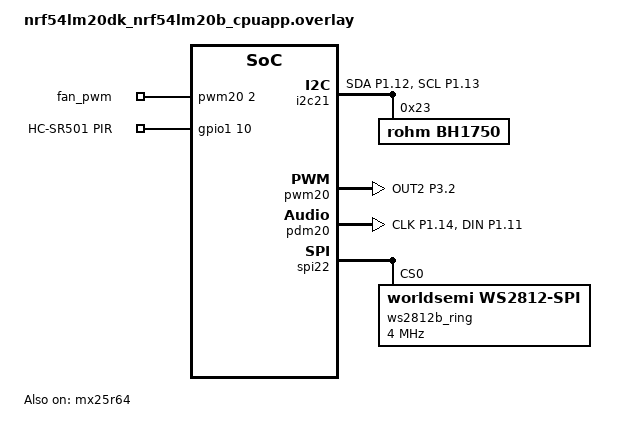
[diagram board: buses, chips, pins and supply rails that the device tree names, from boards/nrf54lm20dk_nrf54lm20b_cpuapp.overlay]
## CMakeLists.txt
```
cmake_minimum_required(VERSION 3.20.0)
set(CMAKE_EXPORT_COMPILE_COMMANDS ON)
find_package(Zephyr REQUIRED HINTS /opt/nordic/ncs/v3.4.0/zephyr)

project(SensoryShield)
option(DEMO_DEFAULTS "Use rehearsal timing, targets and optional measured baseline" ON)
target_compile_definitions(app PRIVATE DEMO_DEFAULTS=$<BOOL:${DEMO_DEFAULTS}>)

include(${ZEPHYR_CONNECTEDHOMEIP_MODULE_DIR}/config/nrfconnect/app/enable-gnu-std.cmake)
include(${ZEPHYR_NRF_MODULE_DIR}/samples/matter/common/cmake/source_common.cmake)
include(${ZEPHYR_NRF_MODULE_DIR}/samples/matter/common/cmake/data_model.cmake)
include(${ZEPHYR_NRF_MODULE_DIR}/samples/matter/common/cmake/zap_helpers.cmake)
ncs_get_zap_parent_dir(ZAP_PARENT_DIR)

find_program(NPM_EXECUTABLE npm REQUIRED HINTS /opt/homebrew/bin)
set(FRONTEND_DIR ${CMAKE_CURRENT_SOURCE_DIR}/frontend)
file(GLOB_RECURSE FRONTEND_BUILD_INPUTS CONFIGURE_DEPENDS
    ${FRONTEND_DIR}/src/*
    ${FRONTEND_DIR}/public/*
    ${FRONTEND_DIR}/index.html
    ${FRONTEND_DIR}/vite.config.ts
    ${FRONTEND_DIR}/package.json
    ${FRONTEND_DIR}/package-lock.json
)
set_property(DIRECTORY APPEND PROPERTY CMAKE_CONFIGURE_DEPENDS ${FRONTEND_BUILD_INPUTS})
if(NOT EXISTS ${FRONTEND_DIR}/node_modules/.bin/vite)
    execute_process(
        COMMAND ${NPM_EXECUTABLE} ci
        WORKING_DIRECTORY ${FRONTEND_DIR}
        RESULT_VARIABLE NPM_INSTALL_RESULT
    )
    if(NOT NPM_INSTALL_RESULT EQUAL 0)
        message(FATAL_ERROR "Frontend dependencies could not be installed with npm ci")
    endif()
endif()
execute_process(
    COMMAND ${NPM_EXECUTABLE} run build
    WORKING_DIRECTORY ${FRONTEND_DIR}
    RESULT_VARIABLE FRONTEND_BUILD_RESULT
)
if(NOT FRONTEND_BUILD_RESULT EQUAL 0)
    message(FATAL_ERROR "Frontend build failed; refusing to produce firmware without the web UI")
endif()

set(FRONTEND_ASSET_DIR ${FRONTEND_DIR}/dist)
set(GENERATED_ASSET_DIR ${APPLICATION_BINARY_DIR}/include/generated/sensoryshield)
file(MAKE_DIRECTORY ${GENERATED_ASSET_DIR})
generate_inc_file_for_target(app ${FRONTEND_ASSET_DIR}/index.html ${GENERATED_ASSET_DIR}/index_html.inc -g)
generate_inc_file_for_target(app ${FRONTEND_ASSET_DIR}/assets/app.js ${GENERATED_ASSET_DIR}/app_js.inc -g)
generate_inc_file_for_target(app ${FRONTEND_ASSET_DIR}/assets/index.css ${GENERATED_ASSET_DIR}/index_css.inc -g)
generate_inc_file_for_target(app ${FRONTEND_ASSET_DIR}/favicon.png ${GENERATED_ASSET_DIR}/favicon_png.inc)
generate_inc_file_for_target(app ${FRONTEND_ASSET_DIR}/brand/sensoryshield-logo.png ${GENERATED_ASSET_DIR}/sensoryshield_logo_png.inc)
generate_inc_file_for_target(app ${FRONTEND_ASSET_DIR}/brand/sensoryshield-mark.png ${GENERATED_ASSET_DIR}/sensoryshield_mark_png.inc)
generate_inc_file_for_target(app ${FRONTEND_ASSET_DIR}/illustrations/adult-avatar.png ${GENERATED_ASSET_DIR}/adult_avatar_png.inc)
generate_inc_file_for_target(app ${FRONTEND_ASSET_DIR}/illustrations/child-at-home.png ${GENERATED_ASSET_DIR}/child_at_home_png.inc)
generate_inc_file_for_target(app ${FRONTEND_ASSET_DIR}/illustrations/child-avatar.png ${GENERATED_ASSET_DIR}/child_avatar_png.inc)
generate_inc_file_for_target(app ${FRONTEND_ASSET_DIR}/illustrations/comfortable-home.png ${GENERATED_ASSET_DIR}/comfortable_home_png.inc)
generate_inc_file_for_target(app ${FRONTEND_ASSET_DIR}/illustrations/environment-status.png ${GENERATED_ASSET_DIR}/environment_status_png.inc)
generate_inc_file_for_target(app ${FRONTEND_ASSET_DIR}/illustrations/fan-control.png ${GENERATED_ASSET_DIR}/fan_control_png.inc)
generate_inc_file_for_target(app ${FRONTEND_ASSET_DIR}/illustrations/light-control.png ${GENERATED_ASSET_DIR}/light_control_png.inc)
generate_inc_file_for_target(app ${FRONTEND_ASSET_DIR}/illustrations/mode-control.png ${GENERATED_ASSET_DIR}/mode_control_png.inc)
generate_inc_file_for_target(app ${FRONTEND_ASSET_DIR}/illustrations/quiet-sound.png ${GENERATED_ASSET_DIR}/quiet_sound_png.inc)
generate_inc_file_for_target(app ${FRONTEND_ASSET_DIR}/illustrations/sensory-status.png ${GENERATED_ASSET_DIR}/sensory_status_png.inc)
generate_inc_file_for_target(app ${FRONTEND_ASSET_DIR}/illustrations/soft-light.png ${GENERATED_ASSET_DIR}/soft_light_png.inc)
generate_inc_file_for_target(app ${FRONTEND_ASSET_DIR}/illustrations/feedback-too-bright.png ${GENERATED_ASSET_DIR}/feedback_too_bright_png.inc)
generate_inc_file_for_target(app ${FRONTEND_ASSET_DIR}/illustrations/feedback-too-dark.png ${GENERATED_ASSET_DIR}/feedback_too_dark_png.inc)
generate_inc_file_for_target(app ${FRONTEND_ASSET_DIR}/illustrations/feedback-too-loud.png ${GENERATED_ASSET_DIR}/feedback_too_loud_png.inc)
generate_inc_file_for_target(app ${FRONTEND_ASSET_DIR}/illustrations/feedback-too-quiet.png ${GENERATED_ASSET_DIR}/feedback_too_quiet_png.inc)
target_include_directories(app PRIVATE ${GENERATED_ASSET_DIR})

target_include_directories(app PRIVATE src)
target_include_directories(app PRIVATE ${ZAP_PARENT_DIR})
target_compile_options(app PRIVATE $<$<COMPILE_LANGUAGE:CXX>:-fno-threadsafe-statics>)

target_sources(app PRIVATE
    src/main.cpp
    src/system/system.cpp
    src/system/memory.cpp
    src/system/matter_bridge.cpp
    src/system/threadrest.cpp
    src/system/web_assets.cpp
    src/common/algorithm/algorithm.cpp
    src/common/algorithm/baseline.cpp
    src/common/algorithm/sensory_relief.cpp
    src/common/algorithm/stimulus_score.cpp
    src/common/device/device.cpp
    src/common/device/Light.cpp
    src/common/device/Fan.cpp
    src/common/device/Occupancy.cpp
    src/common/device/Illuminance.cpp
    src/peripheral/BH1750.cpp
    src/peripheral/PIR.cpp
    src/peripheral/Mic.cpp
    src/peripheral/WS2812B.cpp
    src/peripheral/Fan.cpp
    ${CHIP_ROOT}/src/app/persistence/DeferredAttributePersistenceProvider.cpp
)

ncs_configure_data_model()

zephyr_linker_sources(SECTIONS sections-rom.ld)
zephyr_linker_section_ifdef(CONFIG_HTTP_SERVER NAME
    http_resource_desc_sensoryshield_thread_rest
    KVMA RAM_REGION GROUP RODATA_REGION
)
```

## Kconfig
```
source "Kconfig.zephyr"

source "$(ZEPHYR_CONNECTEDHOMEIP_MODULE_DIR)/config/nrfconnect/chip-module/Kconfig.features"
source "$(ZEPHYR_CONNECTEDHOMEIP_MODULE_DIR)/config/nrfconnect/chip-module/Kconfig.defaults"
source "$(ZEPHYR_NRF_MODULE_DIR)/samples/matter/common/src/Kconfig"

if OPENTHREAD

choice OPENTHREAD_NORDIC_LIBRARY_CONFIGURATION

	default OPENTHREAD_NORDIC_LIBRARY_FTD

endchoice

choice OPENTHREAD_DEVICE_TYPE

	default OPENTHREAD_FTD

endchoice

config CHIP_USE_OPENTHREAD_ENDPOINT
	default y

endif
```

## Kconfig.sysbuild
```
config NRF_DEFAULT_IPC_RADIO
	default y

config NETCORE_IPC_RADIO_IEEE802154
	default y if SOC_SERIES_NRF53 && !WIFI_NRF70

config NETCORE_IPC_RADIO_BT_HCI_IPC
	default y if SOC_SERIES_NRF53

choice BOOTLOADER
	default BOOTLOADER_MCUBOOT
endchoice

if BOOTLOADER_MCUBOOT

config DFU_MULTI_IMAGE_PACKAGE_BUILD
	default y

config DFU_MULTI_IMAGE_PACKAGE_APP
	default y

if SOC_SERIES_NRF53

choice MCUBOOT_MODE
	default MCUBOOT_MODE_OVERWRITE_ONLY
endchoice

choice BOOT_SIGNATURE_TYPE
	default BOOT_SIGNATURE_TYPE_RSA
endchoice

config SECURE_BOOT_NETCORE
	default y

config NETCORE_APP_UPDATE
	default y

config DFU_MULTI_IMAGE_PACKAGE_NET
	default y

endif # SOC_SERIES_NRF53

endif # BOOTLOADER_MCUBOOT

config MATTER_FACTORY_DATA_GENERATE
	default y

source "share/sysbuild/Kconfig"
```

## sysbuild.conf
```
SB_CONFIG_MATTER=y
SB_CONFIG_PARTITION_MANAGER=n
```

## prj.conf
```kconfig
CONFIG_CPP=y
CONFIG_STD_CPP17=y
CONFIG_LOG=y
CONFIG_LOG_DEFAULT_LEVEL=3

CONFIG_CHIP=y
CONFIG_CHIP_PROJECT_CONFIG="src/chip_project_config.h"
CONFIG_CHIP_DEVICE_PRODUCT_NAME="SensoryShield"
CONFIG_CHIP_DEVICE_VENDOR_ID=65521
CONFIG_CHIP_DEVICE_PRODUCT_ID=32774
CONFIG_NCS_SAMPLE_MATTER_ZAP_FILE_PATH="${APPLICATION_CONFIG_DIR}/src/default_zap/sensoryshield.zap"
CONFIG_CHIP_ENABLE_PAIRING_AUTOSTART=y
CONFIG_CHIP_BLE_EXT_ADVERTISING=y
CONFIG_CHIP_BLE_ADVERTISING_DURATION=60
CONFIG_BT_DEVICE_NAME="SensoryShield"
CONFIG_THREAD_NAME=y
CONFIG_MPU_STACK_GUARD=y
CONFIG_RESET_ON_FATAL_ERROR=n
CONFIG_CHIP_FACTORY_DATA=y
CONFIG_CHIP_FACTORY_DATA_BUILD=y
CONFIG_CHIP_MALLOC_SYS_HEAP_SIZE=65536
CONFIG_HEAP_MEM_POOL_SIZE=32768
CONFIG_NCS_SAMPLE_MATTER_APP_TASK_QUEUE_SIZE=32

CONFIG_OPENTHREAD_LIBRARY=y
CONFIG_OPENTHREAD_NORDIC_LIBRARY_FTD=y
CONFIG_OPENTHREAD_DEFAULT_TX_POWER=8
CONFIG_NETWORKING=y
CONFIG_NET_IPV6=y
CONFIG_NET_TCP=y
CONFIG_NET_SOCKETS=y
CONFIG_NET_CONTEXT_RECV_PKTINFO=y
CONFIG_NET_PKT_RX_COUNT=24
CONFIG_NET_PKT_TX_COUNT=24
CONFIG_NET_BUF_RX_COUNT=64
CONFIG_NET_BUF_TX_COUNT=64
CONFIG_JSON_LIBRARY=y
CONFIG_HTTP_SERVER=y
CONFIG_HTTP_SERVER_STACK_SIZE=12288
CONFIG_HTTP_SERVER_MAX_CLIENTS=8
CONFIG_HTTP_SERVER_CLIENT_BUFFER_SIZE=2048
CONFIG_HTTP_SERVER_MAX_HEADER_LEN=512
CONFIG_ZVFS_POLL_MAX=16
CONFIG_NET_MAX_CONN=24
CONFIG_NET_MAX_CONTEXTS=28
CONFIG_OPENTHREAD_THREAD_STACK_SIZE=8192
CONFIG_MBEDTLS_HEAP_SIZE=32768
CONFIG_BT_RX_STACK_SIZE=4096

CONFIG_GPIO=y
CONFIG_I2C=y
CONFIG_PWM=y
CONFIG_LED_STRIP=y
CONFIG_AUDIO=y
CONFIG_AUDIO_DMIC=y

CONFIG_SETTINGS=y
CONFIG_FLASH=y
CONFIG_FLASH_MAP=y
CONFIG_ZMS=y
CONFIG_SETTINGS_ZMS=y

CONFIG_MAIN_STACK_SIZE=8192
CONFIG_SYSTEM_WORKQUEUE_STACK_SIZE=8192
```

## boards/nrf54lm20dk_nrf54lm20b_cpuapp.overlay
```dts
#include <zephyr/dt-bindings/gpio/gpio.h>
#include <zephyr/dt-bindings/led/led.h>
#include <zephyr/dt-bindings/pwm/pwm.h>
#include <zephyr/dt-bindings/pinctrl/nrf-pinctrl.h>
#include <samples/matter/nrf54lm20_cpuapp_partitions.dtsi>

/ {
    chosen {
        nordic,pm-ext-flash = &mx25r64;
    };

    aliases {
        pir = &pir_sensor;
        bh1750 = &bh1750;
        led-strip = &ws2812b_ring;
        fan-pwm = &fan_pwm;
        dmic-dev = &pdm20;
    };

    pwmleds {
        compatible = "pwm-leds";

        fan_pwm: fan_pwm {
            pwms = <&pwm20 2 PWM_USEC(30303) PWM_POLARITY_NORMAL>;
        };
    };

    gpio_keys {
        compatible = "gpio-keys";

        pir_sensor: pir_sensor {
            gpios = <&gpio1 10 (GPIO_ACTIVE_HIGH | GPIO_PULL_DOWN)>;
            label = "HC-SR501 PIR";
        };
    };

    /delete-node/ ws2812b-ring;
};

&mx25r64 {
    status = "okay";
};

&i2c21 {
    status = "okay";
    pinctrl-0 = <&i2c21_default>;
    pinctrl-1 = <&i2c21_sleep>;
    pinctrl-names = "default", "sleep";

    bh1750: light-sensor@23 {
        compatible = "rohm,bh1750";
        reg = <0x23>;
        status = "okay";
    };
};

&pwm20 {
    status = "okay";
    pinctrl-0 = <&pwm20_default>;
    pinctrl-1 = <&pwm20_sleep>;
    pinctrl-names = "default", "sleep";
};

dmic_dev: &pdm20 {
    status = "okay";
    pinctrl-0 = <&pdm20_default>;
    pinctrl-names = "default";
};

&spi22 {
    status = "okay";
    /delete-property/ cs-gpios;

    ws2812b_ring: ws2812b@0 {
        compatible = "worldsemi,ws2812-spi";
        reg = <0>;
        spi-max-frequency = <4000000>;
        bits-per-symbol = <4>;
        spi-zero-frame = <0x4>;
        spi-one-frame = <0x7>;
        chain-length = <12>;
        color-mapping = <LED_COLOR_ID_GREEN
                         LED_COLOR_ID_RED
                         LED_COLOR_ID_BLUE>;
        reset-delay = <300>;
    };
};

&pinctrl {
    i2c21_default: i2c21_default {
        group1 {
            psels = <NRF_PSEL(TWIM_SDA, 1, 12)>,
                    <NRF_PSEL(TWIM_SCL, 1, 13)>;
        };
    };

    i2c21_sleep: i2c21_sleep {
        group1 {
            psels = <NRF_PSEL(TWIM_SDA, 1, 12)>,
                    <NRF_PSEL(TWIM_SCL, 1, 13)>;
            low-power-enable;
        };
    };

    pwm20_default: pwm20_default {
        group1 {
            psels = <NRF_PSEL(PWM_OUT2, 3, 2)>;
        };
    };

    pwm20_sleep: pwm20_sleep {
        group1 {
            psels = <NRF_PSEL(PWM_OUT2, 3, 2)>;
            low-power-enable;
        };
    };

    pdm20_default: pdm20_default {
        group1 {
            psels = <NRF_PSEL(PDM_CLK, 1, 14)>,
                    <NRF_PSEL(PDM_DIN, 1, 11)>;
        };
    };

    spi22_default {
        group1 {
            psels = <NRF_PSEL(SPIM_SCK, 3, 3)>,
                    <NRF_PSEL(SPIM_MISO, 3, 1)>,
                    <NRF_PSEL(SPIM_MOSI, 3, 0)>;
            /delete-property/ bias-pull-down;
            nordic,drive-mode = <NRF_DRIVE_H0H1>;
        };
    };

    spi22_sleep {
        group1 {
            psels = <NRF_PSEL(SPIM_SCK, 3, 3)>,
                    <NRF_PSEL(SPIM_MISO, 3, 1)>,
                    <NRF_PSEL(SPIM_MOSI, 3, 0)>;
            /delete-property/ bias-pull-down;
            low-power-enable;
        };
    };
};
```

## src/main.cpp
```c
#include <zephyr/logging/log.h>

#include "system/matter_bridge.h"
#include "system/system.h"

LOG_MODULE_REGISTER(app, CONFIG_CHIP_APP_LOG_LEVEL);

int main() {
    const int ret = GetSystem()->Initialize();
    if (ret != 0) {
        LOG_ERR("System init failed: %d", ret);
        return ret;
    }

    LOG_INF("System ready");
    while (true) {
        GetMatterBridge()->Dispatch();
    }
}
```

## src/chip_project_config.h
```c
#pragma once

#define CHIP_DEVICE_CONFIG_DYNAMIC_ENDPOINT_COUNT 4

#define CHIP_CONFIG_LOG_MODULE_Zcl_PROGRESS 0
#define CHIP_CONFIG_LOG_MODULE_InteractionModel_PROGRESS 0
#define CHIP_CONFIG_LOG_MODULE_InteractionModel_DETAIL 0
#define CHIP_CONFIG_LOG_MODULE_DataManagement_PROGRESS 0
#define CHIP_CONFIG_LOG_MODULE_FabricProvisioning_PROGRESS 0
#define CHIP_CONFIG_LOG_MODULE_SecureChannel_PROGRESS 0
#define CHIP_CONFIG_LOG_MODULE_DeviceLayer_PROGRESS 0
```

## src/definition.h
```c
#pragma once

#include <stdint.h>

#define APP_NAME "SensoryShield"
#define LEGACY_CONFIG_VERSION 0x00040000
#define PREVIOUS_CONFIG_VERSION 0x00050000
#define SETUP_CONFIG_VERSION 0x00060000
#define OUTPUT_CONFIG_VERSION 0x00070000
#define RELIEF_CONFIG_VERSION 0x00080000
#define OCCUPANCY_CONFIG_VERSION 0x00090000
#define CONFIG_VERSION 0x000a0000
#define ENVIRONMENT_SAMPLE_CAPACITY 31

// 공통 센서·제어 주기: 시연을 위해 단축한 값이 아니다.
#define SENSOR_PERIOD_MS 200
#define ALGORITHM_PERIOD_MS 250
#define WEB_TELEMETRY_MS 500
#define ACTUATOR_RAMP_MS 25

#define ZMS_ID_APP_CONFIG 0x1001
#define ZMS_ID_DEVICE_TABLE 0x1002
#define ZMS_ID_RUNTIME_PREF 0x1003
#define ZMS_ID_BOOT_STATE 0x1004

#define MAX_CHILD_DEVICES 8
#define LOG_STATE_CHANGES_ONLY 1
// 공통 실제 모터 구동 제약: 시연 타이머와 별개이며 보드에서 검증한다.
#define FAN_START_BOOST_MS 350
#define FAN_MIN_DUTY_PERCENT 18
#define AUTO_FAN_NORMAL_PERCENT 60
// 시연용 시작 설정. DEMO_DEFAULTS=0 빌드는 실사용 시작 예시를 사용한다.
// 저장된 보호자 설정이 우선한다. v10 시연 업데이트만 이전 완화 팬 기본값20%를0%로 이관한다.
#ifndef DEMO_DEFAULTS
#define DEMO_DEFAULTS 1
#endif
// Timed demo targets are presentation settings, not clinical calming criteria.
#define DEMO_TRANSITION_MS 5000 // Demo AUTO recovery and child-request return ramp.
#define CHILD_TRANSITION_MS 5000
#if DEMO_DEFAULTS
#define AUTO_FAN_QUIET_PERCENT 0 // Demo relief stops the fan completely.
#define AUTO_RELIEF_HOLD_MS 5000 // Demo: count AFTER both physical outputs arrive.
// Everyday example: #define AUTO_RELIEF_HOLD_MS (30 * 60 * 1000)
#define AUTO_RECOVER_CONFIRM_MS 3000 // Also 3 seconds in the everyday profile.
#define AUTO_OCCUPANCY_HOLD_MS (30 * 1000)
// Everyday example: #define AUTO_OCCUPANCY_HOLD_MS (15 * 60 * 1000)
#define CHILD_HOLD_MS 5000
// Everyday example: #define CHILD_HOLD_MS (30 * 60 * 1000)
#define DEFAULT_NORMAL_BRIGHTNESS 100
#define DEFAULT_MAX_BRIGHTNESS 100
#define DEFAULT_NORMAL_FAN 100
// Everyday examples:
// #define DEFAULT_NORMAL_BRIGHTNESS 60
// #define DEFAULT_MAX_BRIGHTNESS 80
// #define DEFAULT_NORMAL_FAN 60
#else
#define AUTO_FAN_QUIET_PERCENT 20
#define AUTO_RELIEF_HOLD_MS (30 * 60 * 1000)
#define AUTO_RECOVER_CONFIRM_MS 3000
#define AUTO_OCCUPANCY_HOLD_MS (15 * 60 * 1000)
#define CHILD_HOLD_MS (30 * 60 * 1000)
#define DEFAULT_NORMAL_BRIGHTNESS 60
#define DEFAULT_MAX_BRIGHTNESS 80
#define DEFAULT_NORMAL_FAN 60
#endif
// Child controls in everyday use move 30 percentage points within guardian limits.
#define CHILD_OUTPUT_STEP_PERCENT 30
#define DEFAULT_RELIEF_CCT 454 // Warmest selectable white; nominally about 2,200 K.
#define MAX_RELIEF_HOLD_MS (60 * 60 * 1000) // 두 프로필 공통 설정 상한.
#define MAX_OCCUPANCY_HOLD_MS (60 * 60 * 1000)
#define STIMULUS_MAX_SCORE 4.0f
#define OVERRIDE_DURATION_MS 900000 // Guardian temporary manual hold; child requests use CHILD_HOLD_MS.

struct AppConfig {
    uint32_t version = CONFIG_VERSION;
    // 민감도·출력 범위는 보호자 설정이 우선한다. 프로필별 출력 기본값은 위 매크로를 따른다.
    float lightWeight = 0.55f;
    float soundWeight = 0.45f;
    uint8_t minBrightness = 30;
    uint8_t maxBrightness = DEFAULT_MAX_BRIGHTNESS;
    uint16_t minCCTMireds = 250;
    uint16_t maxCCTMireds = 454;
    uint8_t fanMaxPercent = 100;
    uint32_t occupancyTimeoutMs = AUTO_OCCUPANCY_HOLD_MS;
    bool profileConfigured = false;
    uint16_t preferredCCTMireds = DEFAULT_RELIEF_CCT;
    uint8_t preferredBrightness = DEFAULT_NORMAL_BRIGHTNESS;
    uint8_t preferredFanPercent = DEFAULT_NORMAL_FAN;
    uint8_t reservedV7Padding[2] = {}; // Keep legacy fields at their original offsets.
    uint16_t normalCCTMireds = 250;
    uint8_t reliefFanPercent = AUTO_FAN_QUIET_PERCENT;
    uint32_t reliefHoldMs = AUTO_RELIEF_HOLD_MS;
    uint32_t recoverConfirmMs = AUTO_RECOVER_CONFIRM_MS;
    bool occupancyAutomationEnabled = false; // 공통 기본 꺼짐. 재실 시연 순서에서만 켠다.
};

struct ChildDeviceDescriptor {
    uint32_t logicalId;
    uint16_t deviceType;
    bool enabled;
    uint16_t preferredEndpointId;
    char label[24];
};

struct SoundFeatures {
    float energy; // Legacy name: normalized PCM RMS amplitude, not acoustic energy or calibrated SPL.
    float peak;
    float delta;
    uint32_t timestampMs;
    bool valid;
};

// Captured with the sensor read, not the later target requested by the controller.
struct ObservedOutputs {
    bool valid = false;
    bool lightOn = false;
    uint8_t brightness = 0;
    uint16_t cct = 333;
    bool rgb = false;
    uint8_t red = 255, green = 255, blue = 255;
    bool fanOn = false;
    uint8_t fanPercent = 0;
    bool lightSettled = true, fanSettled = true;
    bool lightObservationConsistent = true;
    bool fanOutputValid = true;
    bool fanBoosting = false;
    uint32_t fanOutputChangedAtMs = 0;
};

struct SensorSnapshot {
    float lux;
    SoundFeatures sound;
    bool occupied;
    uint32_t lastMotionMs;
    bool illuminanceValid;
    bool micValid;
    bool pirValid;
    uint32_t observedAtMs = 0;
    ObservedOutputs observedOutputs = {};
    bool learnLight = true, learnSound = true;
    bool controlInputsSettled = true;
};

struct ControlTarget {
    bool lightOn;
    uint8_t brightnessPercent;
    uint16_t cctMireds;
    bool rgbMode;
    uint8_t red;
    uint8_t green;
    uint8_t blue;
    bool fanOn;
    uint8_t fanPercent;
    float sensoryScore;

    bool operator!=(const ControlTarget& other) const {
        return lightOn != other.lightOn || brightnessPercent != other.brightnessPercent || cctMireds != other.cctMireds ||
               rgbMode != other.rgbMode || red != other.red || green != other.green || blue != other.blue ||
               fanOn != other.fanOn || fanPercent != other.fanPercent;
    }
};

struct FanDiagnostics {
    uint8_t targetPercent = 0;
    uint8_t appliedDutyPercent = 0;
    bool boosting = false;
    bool outputValid = false;
    int lastError = 0;
    uint32_t changedAgoMs = 0;
    bool stabilizationWaiting = true;
    bool controlInputsSettled = false;
};

enum class ComfortAction : uint8_t { Bright, Dark, Loud, Quiet };

enum class ControlMode : uint8_t {
    Auto = 0,
    Manual,
    Override,
    Safe,
};

template <typename T> inline bool HasChanged(const T& previous, const T& current) {
    return previous != current;
}

template <typename T> inline T ClampValue(T value, T minimum, T maximum) {
    return value < minimum ? minimum : (value > maximum ? maximum : value);
}

// Cap before applying the motor's minimum running duty. A guardian cap below
// that minimum disables the fan; it is never silently raised to 18%.
inline uint8_t NormalizeFanPercent(uint8_t requestedPercent, uint8_t maximumPercent) {
    const uint8_t cap = ClampValue<uint8_t>(maximumPercent, 0U, 100U);
    if (requestedPercent == 0U || cap < FAN_MIN_DUTY_PERCENT) return 0U;
    const uint8_t capped = ClampValue<uint8_t>(requestedPercent, 0U, cap);
    return capped < FAN_MIN_DUTY_PERCENT ? FAN_MIN_DUTY_PERCENT : capped;
}

inline uint32_t ElapsedUptimeMs(uint32_t now, uint32_t changedAt) {
    return now - changedAt;
}
```
